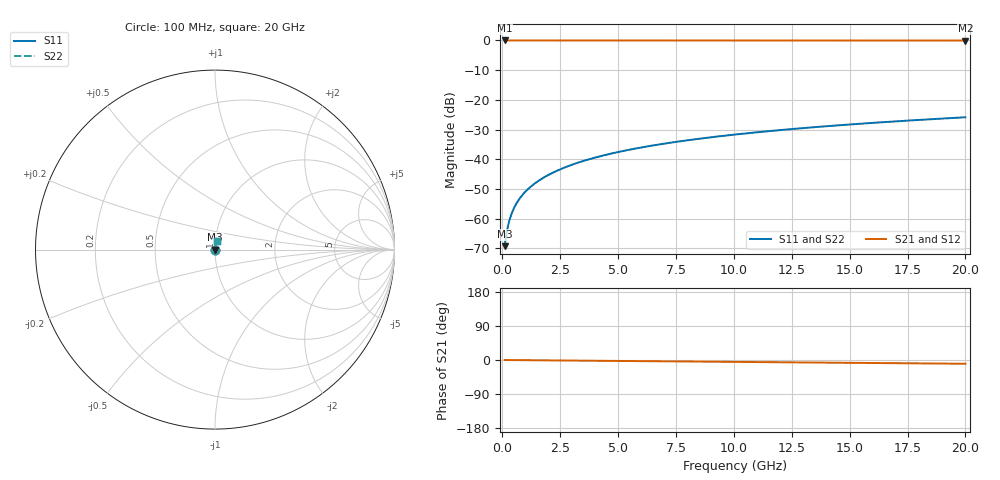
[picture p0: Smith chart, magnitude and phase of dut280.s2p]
! Touchstone file exported from HFSS 2026.1.0
!  File:  C:/ffzhzh/LocalFiles/Ansys_Project_Files/temp_train_TSV_280_1782993515_40604.aedt
!  Generated:  08:00:02 PM Jul  2, 2026
!  Design:  TSV
!  Project:  temp_train_TSV_280_1782993515_40604
! Variables:
!  h_bsmrdl = 2um
!  h_ox = 20um
!  h_rdl = 5um
!  h_sub = 93um
!  h_tmrdl = 5um
!  h_tsv = 93um
!  h_via = 3um
!  l_bsmrdl = 300um
!  l_sub = 417.86um
!  l_tmrdl = 200um
!  m_sub = 200um
!  pitch = 53.38um
!  r_tsv = 8.93um
!  s_tmrdl = 10um
!  w_bsmrdl = 18um
!  w_sub = 500um
!  w_tmrdl = 12um
!  x_tsv_center1 = 206um
!  x_tsv_center2 = 524um
!  x_tsv_center3 = 736um
!  x_tsv_center4 = 1054um
!  x_tsv_center5 = 1266um
!  x_tsv_center6 = 1584um
# GHz S MA R 50.000000
! Terminal data exported
! Port[1] = TSV1_1_T1
! Port[2] = TSV1_1_T2
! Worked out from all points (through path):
!   200 points, 100 MHz to 20 GHz, reference 50 ohm
!   highest |S21| = 0.00 dB at 100 MHz (marker M1); lowest = 0.0 dB at 20 GHz (marker M2)
!   group delay of S21, straight-line fit = 1.37 ps
!   lowest |S11| = -69.2 dB at 100 MHz (marker M3), VSWR 1.00, Z = 50 + j0.0303 ohm
!   |S11| at or under -10 dB: start of sweep to end of sweep
!   |S22| runs from -69.2 to -25.9 dB; largest |S21 - S12| = 6.8e-15
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0.1  0.0003459 61.0  0.9998 -0.1  0.9998 -0.1  0.0003459 61.0
! Gamma 0 0 0 0
! Port Impedance 50 0 50 0
0.2  0.0006292 73.4  0.9998 -0.1  0.9998 -0.1  0.0006292 73.4
0.3  0.0009208 77.6  0.9998 -0.2  0.9998 -0.2  0.0009208 77.6
0.4  0.001211 79.5  0.9998 -0.2  0.9998 -0.2  0.001211 79.5
0.5  0.001496 80.5  0.9998 -0.3  0.9998 -0.3  0.001496 80.5
0.6  0.001777 81.1  0.9997 -0.3  0.9997 -0.3  0.001777 81.1
0.7  0.002054 81.5  0.9997 -0.4  0.9997 -0.4  0.002054 81.5
0.8  0.002326 81.8  0.9997 -0.4  0.9997 -0.4  0.002326 81.8
1  0.002864 82.3  0.9996 -0.5  0.9996 -0.5  0.002864 82.3
1.4  0.003919 83.1  0.9996 -0.7  0.9996 -0.7  0.003919 83.1
1.7  0.004703 83.5  0.9995 -0.9  0.9995 -0.9  0.004703 83.5
2  0.005486 83.8  0.9995 -1.0  0.9995 -1.0  0.005486 83.8
2.7  0.00731 84.2  0.9994 -1.4  0.9994 -1.4  0.00731 84.2
3.5  0.009389 84.3  0.9993 -1.8  0.9993 -1.8  0.009389 84.3
4.2  0.0112 84.3  0.9992 -2.1  0.9992 -2.1  0.0112 84.3
5  0.01326 84.2  0.9991 -2.5  0.9991 -2.5  0.01326 84.2
6.8  0.01787 83.7  0.9989 -3.4  0.9989 -3.4  0.01787 83.7
8.3  0.02169 83.3  0.9988 -4.1  0.9988 -4.1  0.02169 83.3
10.1  0.02625 82.6  0.9986 -5.0  0.9986 -5.0  0.02625 82.6
13.4  0.03457 81.3  0.9982 -6.6  0.9982 -6.6  0.03457 81.3
16.7  0.04282 79.9  0.9977 -8.3  0.9977 -8.3  0.04282 79.9
20  0.05099 78.4  0.9972 -9.9  0.9972 -9.9  0.05099 78.4
